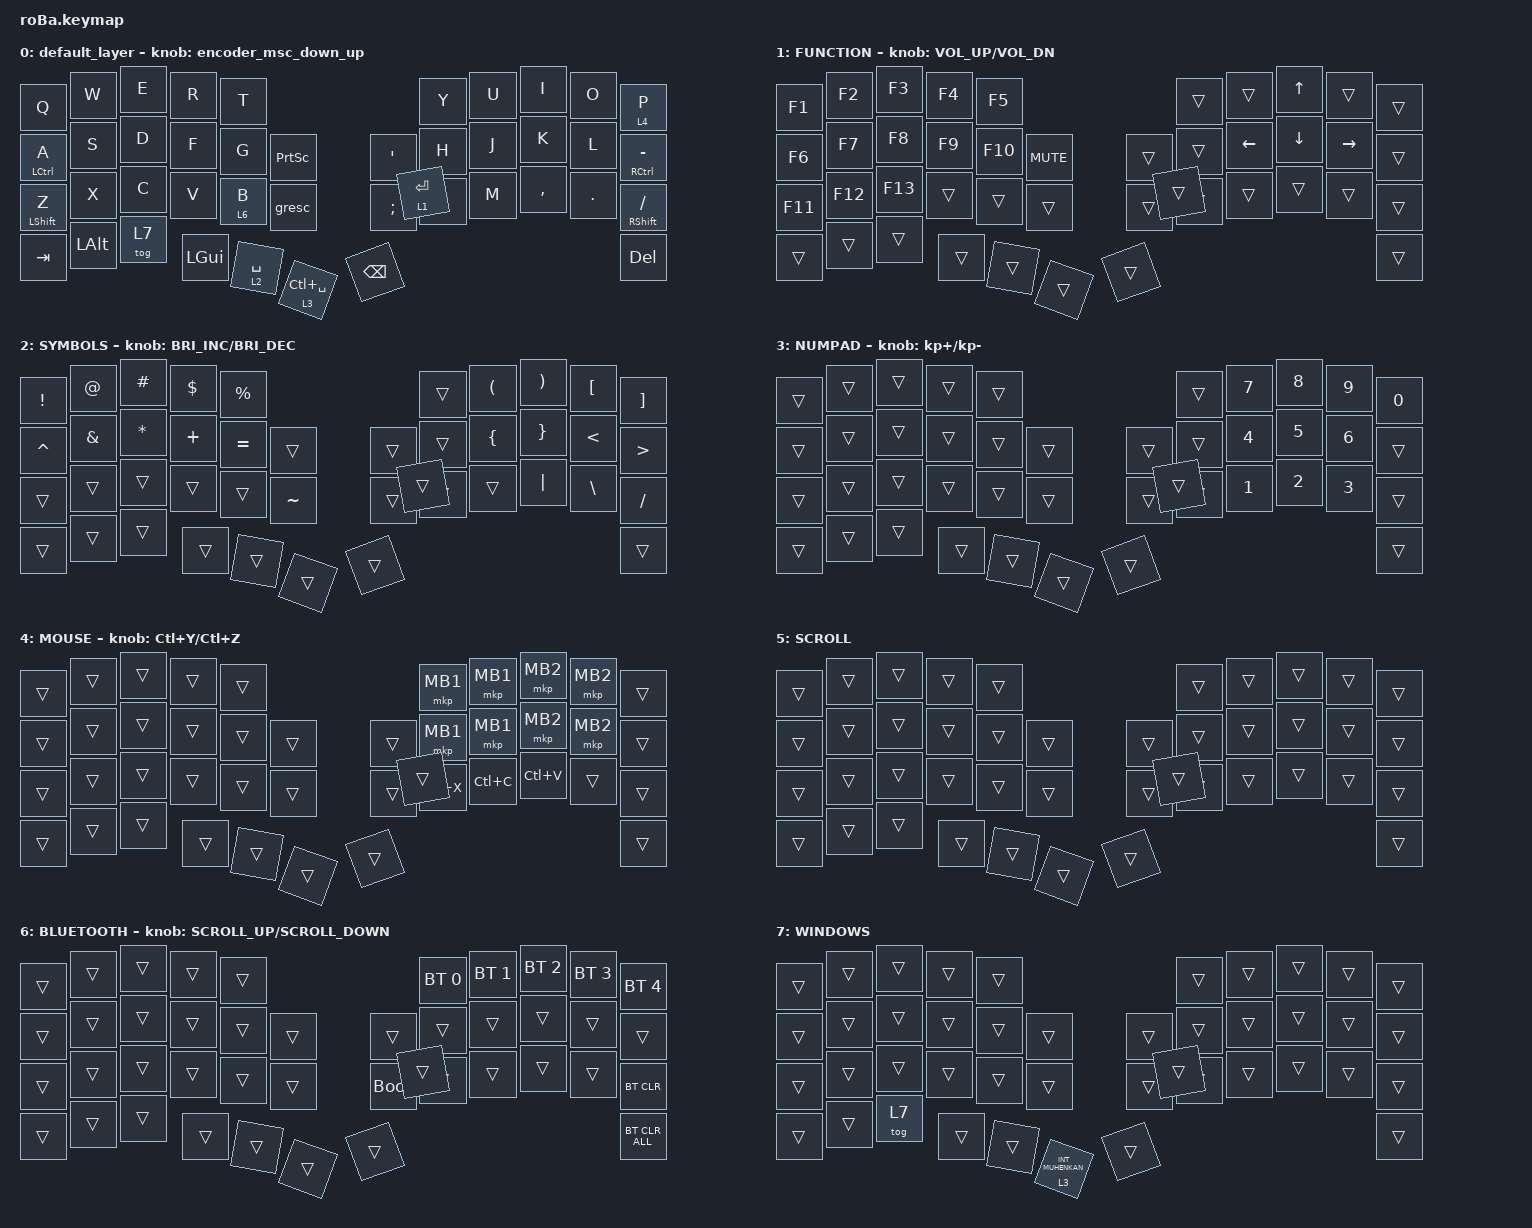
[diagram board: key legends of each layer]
#include <behaviors.dtsi>
#include <dt-bindings/zmk/bt.h>
#include <dt-bindings/zmk/keys.h>
#include <dt-bindings/zmk/pointing.h>

#define ZMK_POINTING_DEFAULT_SCRL_VAL 80

&mt {
    flavor = "balanced";
    quick-tap-ms = <0>;
};

&trackball {
    // automouse-layer = <4>;

    scroll-layers = <5>;

    // arrows {
    //     layers = <3>;
    //     bindings =
    //         <&kp RIGHT_ARROW>,
    //         <&kp LEFT_ARROW>,
    //         <&kp UP_ARROW>,
    //         <&kp DOWN_ARROW>;
    //     tick = <10>;
    //     wait-ms = <5>;
    //     tap-ms = <5>;
    // };
};

/ {
    combos {
        compatible = "zmk,combos";

        // 日本語入力切り替え (j+k)
        // 英数入力切り替え (f+d)
        // プログラミング用記号
        // YAML用コロン
        // コピー (c+v)
        // ペースト (v+b)
        // やり直し (x+c)
        // 検索 (s+d)
        // 保存 (d+f)
    };

    macros {
        // カスタムマクロがあれば、ここに追加できます
    };

    behaviors {
        encoder_msc_down_up: encoder_msc_down_up {
            compatible = "zmk,behavior-sensor-rotate";
            label = "ENCODER_MSC_DOWN_UP";
            #sensor-binding-cells = <0>;
            bindings = <&msc SCRL_DOWN>, <&msc SCRL_UP>;

            tap-ms = <20>;
        };
    };

    keymap {
        compatible = "zmk,keymap";

        default_layer {
            bindings = <
&kp Q             &kp W         &kp E      &kp R         &kp T                                            &kp Y        &kp U  &kp I      &kp O       &lt 4 P
&mt LCTRL A       &kp S         &kp D      &kp F         &kp G        &kp PRINTSCREEN      &kp SQT        &kp H        &kp J  &kp K      &kp L       &mt RCTRL MINUS
&mt LEFT_SHIFT Z  &kp X         &kp C      &kp V         &lt 6 B      &gresc               &kp SEMICOLON  &kp N        &kp M  &kp COMMA  &kp PERIOD  &mt RIGHT_SHIFT SLASH
&kp TAB           &kp LEFT_ALT  &tog 7     &kp LEFT_GUI  &lt 2 SPACE  &lt 3 LC(SPACE)      &kp BACKSPACE  &lt 1 ENTER                                &kp DELETE
            >;

            sensor-bindings = <&encoder_msc_down_up>;
        };

        FUNCTION {
            bindings = <
&kp F1   &kp F2   &kp F3   &kp F4  &kp F5                           &trans  &trans          &kp UP_ARROW    &trans           &trans
&kp F6   &kp F7   &kp F8   &kp F9  &kp F10  &kp C_MUTE      &trans  &trans  &kp LEFT_ARROW  &kp DOWN_ARROW  &kp RIGHT_ARROW  &trans
&kp F11  &kp F12  &kp F13  &trans  &trans   &trans          &trans  &trans  &trans          &trans          &trans           &trans
&trans   &trans   &trans   &trans  &trans   &trans          &trans  &trans                                                   &trans
            >;

            sensor-bindings = <&inc_dec_kp C_VOL_UP C_VOL_DN>;
        };

        SYMBOLS {
            bindings = <
&kp EXCLAMATION  &kp AT_SIGN    &kp HASH      &kp DOLLAR  &kp PERCENT                               &trans          &kp LEFT_PARENTHESIS  &kp RIGHT_PARENTHESIS  &kp LEFT_BRACKET  &kp RIGHT_BRACKET
&kp CARET        &kp AMPERSAND  &kp ASTERISK  &kp PLUS    &kp EQUAL       &trans         &trans     &trans          &kp LEFT_BRACE        &kp RIGHT_BRACE        &kp LESS_THAN     &kp GREATER_THAN
&trans           &trans         &trans        &trans      &trans          &kp TILDE      &trans     &trans          &trans                &kp PIPE               &kp BACKSLASH     &kp SLASH
&trans           &trans         &trans        &trans      &trans          &trans         &trans     &trans                                                                         &trans
            >;

            sensor-bindings = <&inc_dec_kp C_BRI_INC C_BRI_DEC>;
        };

        NUMPAD {
            bindings = <
&trans  &trans  &trans  &trans  &trans                          &trans        &kp NUMBER_7  &kp NUMBER_8  &kp NUMBER_9  &kp N0
&trans  &trans  &trans  &trans  &trans  &trans      &trans      &trans        &kp NUMBER_4  &kp NUMBER_5  &kp NUMBER_6  &trans
&trans  &trans  &trans  &trans  &trans  &trans      &trans      &trans        &kp NUMBER_1  &kp NUMBER_2  &kp NUMBER_3  &trans
&trans  &trans  &trans  &trans  &trans  &trans      &trans      &trans                                                  &trans
            >;

            sensor-bindings = <&inc_dec_kp KP_PLUS KP_MINUS>; // increment/decrement numbers
        };

        MOUSE {
            bindings = <
&trans  &trans  &trans  &trans  &trans                      &mkp MB1  &mkp MB1  &mkp MB2  &mkp MB2  &trans
&trans  &trans  &trans  &trans  &trans  &trans      &trans  &mkp MB1  &mkp MB1  &mkp MB2  &mkp MB2  &trans
&trans  &trans  &trans  &trans  &trans  &trans      &trans  &kp LC(X)  &kp LC(C)    &kp LC(V)    &trans    &trans
&trans  &trans  &trans  &trans  &trans  &trans      &trans  &trans                                &trans
            >;

            sensor-bindings = <&inc_dec_kp LC(Y) LC(Z)>; // undo/redo
        };

        SCROLL {
            bindings = <
&trans  &trans  &trans  &trans  &trans                      &trans  &trans  &trans  &trans  &trans
&trans  &trans  &trans  &trans  &trans  &trans      &trans  &trans  &trans  &trans  &trans  &trans
&trans  &trans  &trans  &trans  &trans  &trans      &trans  &trans  &trans  &trans  &trans  &trans
&trans  &trans  &trans  &trans  &trans  &trans      &trans  &trans                          &trans
            >;
        };

        BLUETOOTH {
            bindings = <
&trans  &trans  &trans  &trans  &trans                           &bt BT_SEL 0  &bt BT_SEL 1  &bt BT_SEL 2  &bt BT_SEL 3  &bt BT_SEL 4
&trans  &trans  &trans  &trans  &trans  &trans      &trans       &trans        &trans        &trans        &trans        &trans
&trans  &trans  &trans  &trans  &trans  &trans      &bootloader  &trans        &trans        &trans        &trans        &bt BT_CLR
&trans  &trans  &trans  &trans  &trans  &trans      &trans       &trans                                                  &bt BT_CLR_ALL
            >;

            sensor-bindings = <&inc_dec_kp K_SCROLL_UP K_SCROLL_DOWN>; // document scroll
        };

        WINDOWS {
            bindings = <
&trans  &trans  &trans  &trans  &trans                      &trans  &trans  &trans  &trans  &trans
&trans  &trans  &trans  &trans  &trans  &trans      &trans  &trans  &trans  &trans  &trans  &trans
&trans  &trans  &trans  &trans  &trans  &trans      &trans  &trans  &trans  &trans  &trans  &trans
&trans  &trans  &tog 7  &trans  &trans  &lt 3 INT_MUHENKAN      &trans  &trans                          &trans
            >;
        };
    };
};
